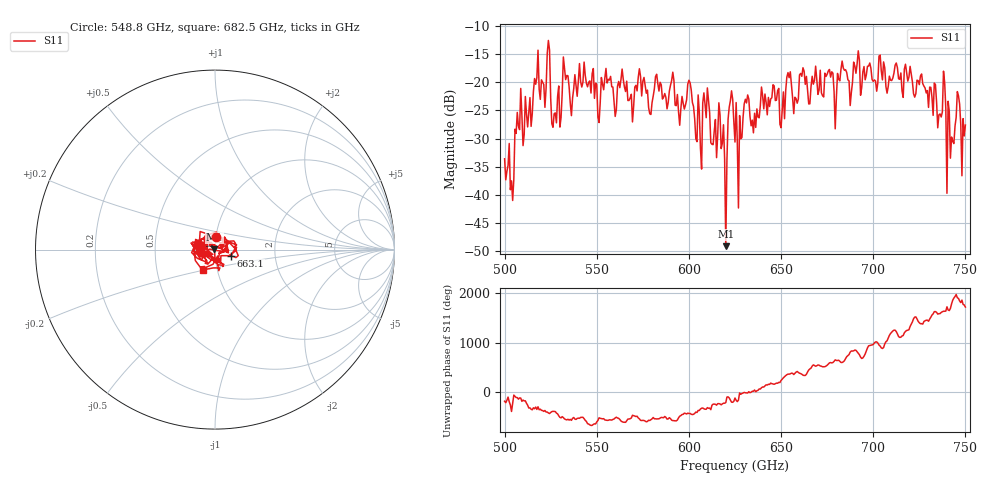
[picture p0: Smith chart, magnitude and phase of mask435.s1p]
!Created with skrf (http://scikit-rf.org).
# GHz S MA R 50.0
!freq magS11 angS11
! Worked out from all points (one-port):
!   401 points, 500 GHz to 750 GHz, reference 50 ohm
!   lowest |S11| = -49.1 dB at 620 GHz (marker M1), VSWR 1.01, Z = 49.7 + j0.158 ohm
!   |S11| at or under -10 dB: start of sweep to end of sweep
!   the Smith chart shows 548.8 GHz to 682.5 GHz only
!   S11 on the Smith chart (normalised r, x): 548.8 GHz: 1.00, +0.14; 663.1 GHz: 1.19, -0.08; 682.5 GHz: 0.86, -0.20
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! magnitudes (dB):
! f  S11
! 500 GHz  -33.6
! 504.4 GHz  -41.0
! 507.5 GHz  -27.8
! 513.8 GHz  -22.8
! 516.9 GHz  -20.4
! 523.8 GHz  -12.6
! 526.9 GHz  -25.6
! 531.2 GHz  -21.9
! 548.8 GHz  -22.9
! 562.5 GHz  -21.0
! 593.8 GHz  -22.2
! 600.6 GHz  -20.1
! 605.6 GHz  -25.3
! 609.4 GHz  -26.3
! 620 GHz  -49.1
! 622.5 GHz  -23.3
! 625 GHz  -30.6
! 627.5 GHz  -25.9
! 631.2 GHz  -23.7
! 656.2 GHz  -22.8
! 663.1 GHz  -20.4
! 682.5 GHz  -17.7
! 687.5 GHz  -24.2
! 718.8 GHz  -19.8
! 738.1 GHz  -18.1
! 741.2 GHz  -25.2
! 745.6 GHz  -21.7
! 750 GHz  -27.6
